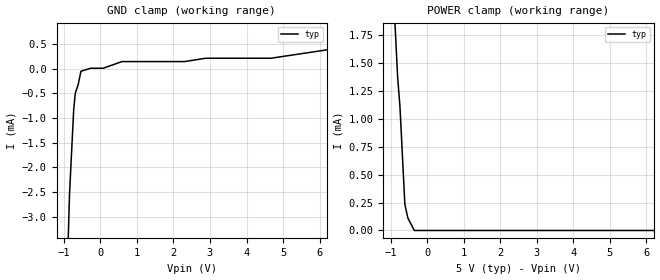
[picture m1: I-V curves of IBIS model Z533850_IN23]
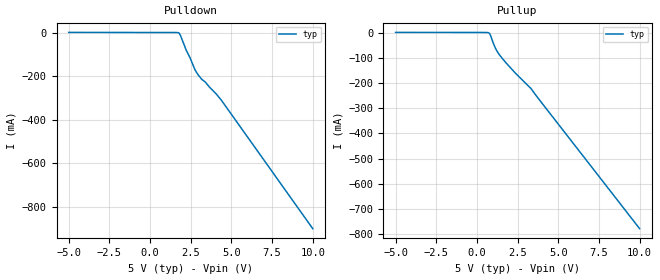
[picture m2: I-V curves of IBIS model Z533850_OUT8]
| YOU ARE ONLY AUTHORIZED TO USE THIS SOFTWARE
| ACCORDING TO LICENSOR'S LICENSE RESTRICTIONS.
[IBIS Ver] 3.1
[File Name] mc10e116fn_50.ibs
[File Rev] 1
[Source] derived from mc10e154fn.ibs measured and created
|   by ICX Technology
[Date] 10/24/2003
[Copyright]
| (C) COPYRIGHT 1993-2000
| MENTOR GRAPHICS CORPORATION
| ICX STANDARD LIBRARY, ICX PROJECT MODELING,
| ICX CUSTOM MODELING, ICX VENDOR MODEL
| ALL RIGHTS RESERVED.
| THE FOLLOWING ARE TRADEMARKS OR SERVICE MARKS OF
| MENTOR GRAPHICS CORPORATION:ICX (R), ICX STANDARD
| LIBRARY(R), ICX PROJECT MODELING(R), ICX CUSTOM
| MODELING(R), qualityIBIS(TM), MODELVIEWER(TM),
| AND MODELEDITOR(TM)
| ALL COPIES OF SOFTWARE, INCLUDING BUT NOT LIMITED TO
| ANY MODIFICATIONS, ENHANCEMENTS OR DERIVATIVE WORKS,
| MUST CONTAIN ALL MENTOR GRAPHICS CORPORATION'S
| NOTICES AND LEGENDS, INCLUDING THOSE EMBEDDED IN
| SOFTWARE AND THOSE AFFIXED TO SOFTWARE MEDIUM
| AND CONTAINER, AS RECEIVED FROM MENTOR GRAPHICS
| CORPORATION.
|  ZAP Model Builder 2.7
[Component] MC10e116FN_50
[Manufacturer] OnSemiconductor
[Package]
| variable   typ   min   max
R_pkg  .083ohms NA NA
L_pkg  4.299nH NA NA
C_pkg  1.045pF NA NA
[Pin] signal_name  model_name  R_pin  L_pin C_pin
1 VEE GND .08 3.94n .925p
2 VBB POWER .082 4.14n .995p
3 D0 Z533850_IN23 .084 4.354n 1.065p
4 _D0 Z533850_IN23 .086 4.583n 1.135p
5 D1 Z533850_IN23 .086 4.583n 1.135p
6 _D1 Z533850_IN23 .084 4.354n 1.065p
7 VCCO POWER .082 4.14n .995p
8 Q0 Z533850_OUT8 .08 3.94n .925p
9 _Q0 Z533850_OUT8 .082 4.14n .995p
10 VCCO POWER .084 4.354n 1.065p
11 Q1 Z533850_OUT8 .086 4.583n 1.135p
12 _Q1 Z533850_OUT8 .086 4.583n 1.135p
13 VCCO POWER .084 4.354n 1.065p
14 Q2 Z533850_OUT8 .082 4.14n .995p
15 _Q2 Z533850_OUT8 .08 3.94n .925p
16 VCC POWER .082 4.14n .995p
17 Q3 Z533850_OUT8 .084 4.354n 1.065p
18 _Q3 Z533850_OUT8 .086 4.583n 1.135p
19 VCCO POWER .086 4.583n 1.135p
20 Q4 Z533850_IN23 .084 4.354n 1.065p
21 _Q4 Z533850_IN23 .082 4.14n .995p
22 VCCO POWER .08 3.94n .925p
23 D4 Z533850_IN23 .082 4.14n .995p
24 _D4 Z533850_IN23 .084 4.354n 1.065p
25 D3 Z533850_IN23 .086 4.583n 1.135p
26 _D3 Z533850_IN23 .086 4.583n 1.135p
27 D2 Z533850_IN23 .084 4.354n 1.065p
28 _D2 Z533850_IN23 .082 4.14n .995p
[Diff Pin] inv_pin vdiff tdelay_typ tdelay_min tdelay_max
3 4 150mv NA NA NA
5 6 150mv NA NA NA
23 24 150mv NA NA NA
25 26 150mv NA NA NA
27 28 150mv NA NA NA
8 9 NA .300ns .200ns .450ns
11 12 NA .300ns .200ns .450ns
14 15 NA .300ns .200ns .450ns
17 18 NA .300ns .200ns .450ns
20 21 NA .300ns .200ns .450ns
| Models and submodels in the file (2): Z533850_IN23 (Input_ECL), Z533850_OUT8 (Output_ECL)
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| (C) COPYRIGHT 1993-2000
| MENTOR GRAPHICS CORPORATION
| ICX STANDARD LIBRARY, ICX PROJECT MODELING,
| ICX CUSTOM MODELING, ICX VENDOR MODEL
| ALL RIGHTS RESERVED.
| THE FOLLOWING ARE TRADEMARKS OR SERVICE MARKS OF
| MENTOR GRAPHICS CORPORATION:ICX (R), ICX STANDARD
| LIBRARY(R), ICX PROJECT MODELING(R), ICX CUSTOM
| MODELING(R), qualityIBIS(TM), MODELVIEWER(TM),
| AND MODELEDITOR(TM)
| ALL COPIES OF SOFTWARE, INCLUDING BUT NOT LIMITED TO
| ANY MODIFICATIONS, ENHANCEMENTS OR DERIVATIVE WORKS,
| MUST CONTAIN ALL MENTOR GRAPHICS CORPORATION'S
| NOTICES AND LEGENDS, INCLUDING THOSE EMBEDDED IN
| SOFTWARE AND THOSE AFFIXED TO SOFTWARE MEDIUM
| AND CONTAINER, AS RECEIVED FROM MENTOR GRAPHICS
| CORPORATION.
| Model Application Version 1.89 2/18/99.
[Model] Z533850_IN23
Model_type Input_ECL
Vinl = 3.520V
Vinh = 3.870V
C_comp 2.000pF NA NA
| variable typ   min   max
[Voltage Range] 5.000V NA NA
[GND Clamp Reference] 0.000V NA NA
[POWER Clamp Reference] 5.000V NA NA
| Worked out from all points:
|   GND clamp passes 1 mA (typ) near -0.74 V on its own axis
|   POWER clamp passes 1 mA (typ) near -0.73 V on its own axis
[GND Clamp]
-5V       -201.2mA   NA         NA
-1.001V   -6.569mA   NA         NA
-844.7mV  -2.544mA   NA         NA
-730.1mV  -831.7uA   NA         NA
-684.9mV  -495.8uA   NA         NA
-609.6mV  -333.8uA   NA         NA
-531.8mV  -55.24uA   NA         NA
-265.9mV  5.988uA    NA         NA
80.1mV    5.988uA    NA         NA
589.9mV   140.6uA    NA         NA
4.666V    208.1uA    NA         NA
10V       797.5uA    NA         NA
[POWER Clamp]
-5V       18.97mA    NA         NA
-1.464V   6.276mA    NA         NA
-1.426V   5.802mA    NA         NA
-1.323V   5.099mA    NA         NA
-1.207V   4.136mA    NA         NA
-1.009V   2.68mA     NA         NA
-811mV    1.375mA    NA         NA
-747mV    1.109mA    NA         NA
-613mV    235uA      NA         NA
-531mV    112uA      NA         NA
-354mV    0A         NA         NA
10V       0A         NA         NA
| (C) COPYRIGHT 1993-2000
| MENTOR GRAPHICS CORPORATION
| ICX STANDARD LIBRARY, ICX PROJECT MODELING,
| ICX CUSTOM MODELING, ICX VENDOR MODEL
| ALL RIGHTS RESERVED.
| THE FOLLOWING ARE TRADEMARKS OR SERVICE MARKS OF
| MENTOR GRAPHICS CORPORATION:ICX (R), ICX STANDARD
| LIBRARY(R), ICX PROJECT MODELING(R), ICX CUSTOM
| MODELING(R), qualityIBIS(TM), MODELVIEWER(TM),
| AND MODELEDITOR(TM)
| ALL COPIES OF SOFTWARE, INCLUDING BUT NOT LIMITED TO
| ANY MODIFICATIONS, ENHANCEMENTS OR DERIVATIVE WORKS,
| MUST CONTAIN ALL MENTOR GRAPHICS CORPORATION'S
| NOTICES AND LEGENDS, INCLUDING THOSE EMBEDDED IN
| SOFTWARE AND THOSE AFFIXED TO SOFTWARE MEDIUM
| AND CONTAINER, AS RECEIVED FROM MENTOR GRAPHICS
| CORPORATION.
| Model Application Version 1.89 2/18/99.
[Model] Z533850_OUT8
Model_type Output_ECL
Vref=3.000V
Rref=50.00ohms
Cref=0.000F
Vmeas=3.65V
C_comp 2.000pF NA NA
| variable typ   min   max
[Voltage Range] 5.000V NA NA
[POWER Clamp Reference] 5.000V NA NA
[Pullup Reference] 5.000V NA NA
[Pulldown Reference] 5.000V NA NA
[GND Clamp Reference] 0.000V NA NA
[GND Clamp]
-5V       0A         NA         NA
10V       0A         NA         NA
[Pulldown]
-5V       675.5uA    NA         NA
1.528V    129uA      NA         NA
1.785V    -2.814mA   NA         NA
1.855V    -11mA      NA         NA
2.237V    -83.41mA   NA         NA
2.449V    -114.7mA   NA         NA
2.749V    -169mA     NA         NA
2.856V    -183.3mA   NA         NA
3.18V     -215mA     NA         NA
3.393V    -227mA     NA         NA
4.369V    -309.3mA   NA         NA
10V       -900.6mA   NA         NA
[Pullup]
-5V       503.6uA    NA         NA
742mV     -1.717mA   NA         NA
830mV     -10.79mA   NA         NA
1.154V    -64.42mA   NA         NA
1.406V    -90.54mA   NA         NA
2.373V    -161.7mA   NA         NA
3.315V    -221.7mA   NA         NA
10V       -777.8mA   NA         NA
[POWER Clamp]
-5V       0A         NA         NA
10V       0A         NA         NA
[Ramp]
| variable typ min max
dV/dt_r 550.2m/383.5p NA NA
dV/dt_f 550.2m/316.0p NA NA
R_load = 50.0Ohms
